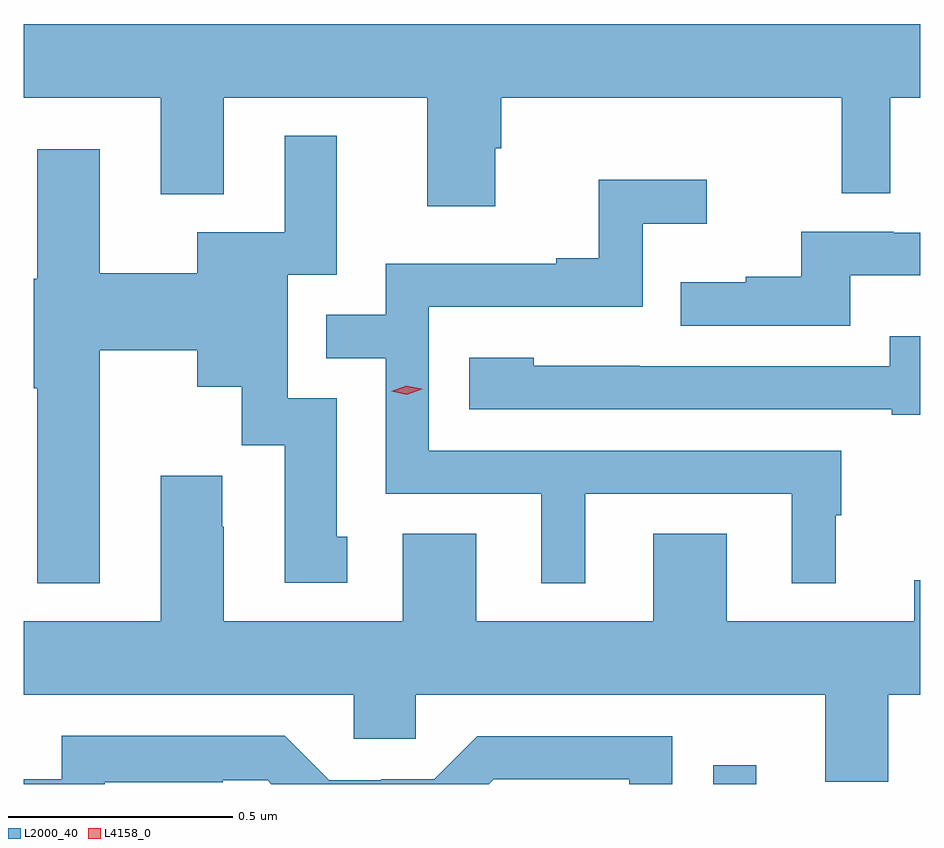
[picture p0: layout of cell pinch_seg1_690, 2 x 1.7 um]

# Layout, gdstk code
import gdstk
lib = gdstk.Library(unit=1e-6, precision=1e-09)
def R(c, l, rs):  # rectangles x0, y0, x1, y1
    for r in rs: c.add(gdstk.rectangle(r[:2], r[2:], *l))
def P(c, l, *ps):  # polygons
    for p in ps: c.add(gdstk.Polygon(p, *l))
L2000_40 = (2000, 40)
L4158_0 = (4158, 0)

pinch_seg1_690 = lib.new_cell('pinch_seg1_690')
R(pinch_seg1_690, L2000_40, [(676.207,572.845,676.303,572.887)])
P(pinch_seg1_690, L2000_40, [(675.721,574.263),(675.734,574.263),(675.734,574.376),(676.494,574.376),(676.494,574.162),(676.602,574.162),(676.602,574.376),(676.669,574.376),(676.669,574.54),(674.669,574.54),(674.669,574.376),(674.975,574.376),(674.975,574.16),(675.115,574.16),(675.115,574.376),(675.569,574.376),(675.569,574.134),(675.721,574.134)],
  [(674.839,573.812),(675.056,573.812),(675.056,573.731),(675.155,573.731),(675.155,573.6),(675.251,573.6),(675.251,573.294),(675.391,573.294),(675.391,573.396),(675.367,573.396),(675.367,573.705),(675.258,573.705),(675.258,573.981),(675.367,573.981),(675.367,574.291),(675.251,574.291),(675.251,574.075),(675.056,574.075),(675.056,573.984),(674.839,573.984),(674.839,574.261),(674.699,574.261),(674.699,573.972),(674.692,573.972),(674.692,573.728),(674.699,573.728),(674.699,573.293),(674.839,573.293)],
  [(675.922,573.492),(676.382,573.492),(676.382,573.293),(676.48,573.293),(676.48,573.444),(676.492,573.444),(676.492,573.588),(675.573,573.588),(675.573,573.909),(676.05,573.909),(676.05,574.094),(676.192,574.094),(676.192,574.193),(675.952,574.193),(675.952,574.018),(675.857,574.018),(675.857,574.005),(675.477,574.005),(675.477,573.891),(675.344,573.891),(675.344,573.795),(675.477,573.795),(675.477,573.492),(675.824,573.492),(675.824,573.293),(675.922,573.293)],
  [(676.513,573.98),(676.669,573.98),(676.669,574.074),(676.61,574.074),(676.61,574.077),(676.403,574.077),(676.403,573.976),(676.279,573.976),(676.279,573.964),(676.135,573.964),(676.135,573.867),(676.513,573.867)],
  [(676.669,573.844),(676.601,573.844),(676.601,573.777),(676.043,573.777),(676.043,573.778),(675.807,573.778),(675.807,573.796),(675.663,573.796),(675.663,573.681),(676.605,573.681),(676.605,573.669),(676.669,573.669)],
  [(676.597,573.044),(676.669,573.044),(676.669,573.299),(676.655,573.299),(676.655,573.208),(676.237,573.208),(676.237,573.403),(676.073,573.403),(676.073,573.208),(675.679,573.208),(675.679,573.403),(675.515,573.403),(675.515,573.208),(675.115,573.208),(675.115,573.419),(675.112,573.419),(675.112,573.532),(674.975,573.532),(674.975,573.208),(674.669,573.208),(674.669,573.044),(675.405,573.044),(675.405,572.946),(675.543,572.946),(675.543,573.044),(676.457,573.044),(676.457,572.85),(676.597,572.85)],
  [(674.85,572.849),(675.113,572.849),(675.113,572.853),(675.213,572.853),(675.221,572.845),(675.706,572.845),(675.717,572.856),(676.02,572.856),(676.02,572.845),(676.116,572.845),(676.116,572.952),(675.681,572.952),(675.585,572.856),(675.467,572.856),(675.467,572.853),(675.351,572.853),(675.251,572.953),(674.754,572.953),(674.754,572.856),(674.669,572.856),(674.669,572.845),(674.85,572.845)])
P(pinch_seg1_690, L4158_0, [(675.524,573.713),(675.489,573.721),(675.488,573.721),(675.489,573.721),(675.522,573.733),(675.557,573.726),(675.558,573.725),(675.557,573.725)])

lib.write_gds('pinch_seg1_690.gds')
